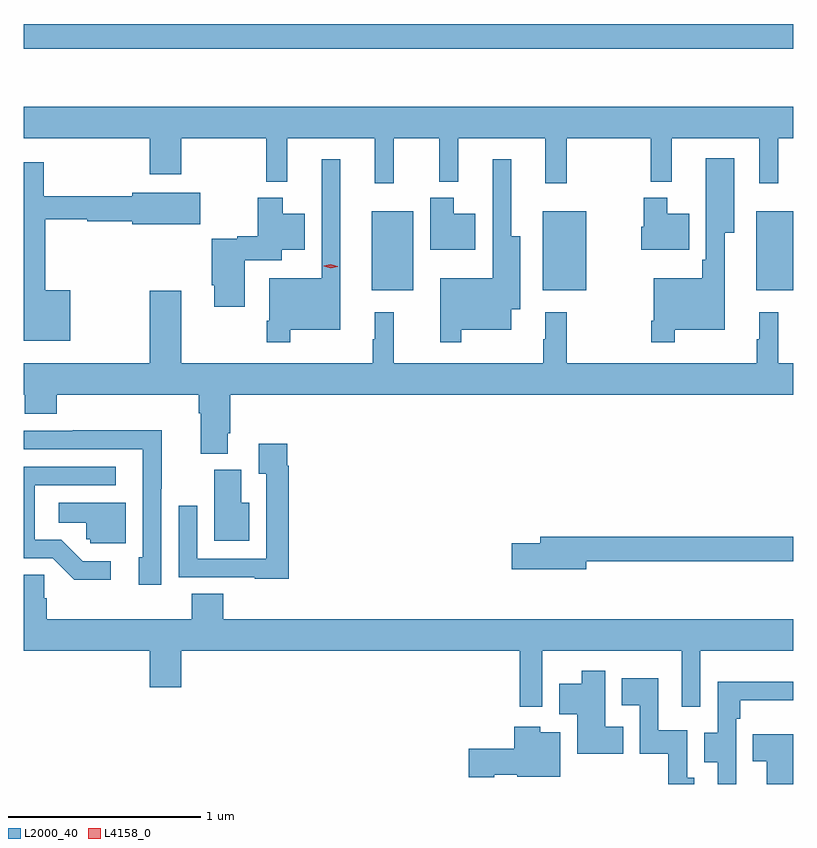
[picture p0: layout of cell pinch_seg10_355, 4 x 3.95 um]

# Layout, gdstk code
import gdstk
lib = gdstk.Library(unit=1e-6, precision=1e-09)
def R(c, l, rs):  # rectangles x0, y0, x1, y1
    for r in rs: c.add(gdstk.rectangle(r[:2], r[2:], *l))
def P(c, l, *ps):  # polygons
    for p in ps: c.add(gdstk.Polygon(p, *l))
L2000_40 = (2000, 40)
L4158_0 = (4158, 0)

pinch_seg10_355 = lib.new_cell('pinch_seg10_355')
R(pinch_seg10_355, L2000_40, [(549.779,1274.219,549.994,1274.629), (550.667,1274.219,550.894,1274.629), (551.777,1274.219,551.97,1274.629), (547.97,1275.474,551.97,1275.602)])
P(pinch_seg10_355, L2000_40, [(547.97,1275.008),(548.624,1275.008),(548.624,1274.82),(548.788,1274.82),(548.788,1275.008),(549.231,1275.008),(549.231,1274.783),(549.341,1274.783),(549.341,1275.008),(549.794,1275.008),(549.794,1274.775),(549.894,1274.775),(549.894,1275.008),(550.129,1275.008),(550.129,1274.783),(550.229,1274.783),(550.229,1275.008),(550.682,1275.008),(550.682,1274.775),(550.792,1274.775),(550.792,1275.008),(551.229,1275.008),(551.229,1274.783),(551.338,1274.783),(551.338,1275.008),(551.792,1275.008),(551.792,1274.775),(551.892,1274.775),(551.892,1275.008),(551.97,1275.008),(551.97,1275.172),(547.97,1275.172)],
  [(551.353,1274.012),(551.614,1274.012),(551.614,1274.516),(551.662,1274.516),(551.662,1274.905),(551.516,1274.905),(551.516,1274.377),(551.497,1274.377),(551.497,1274.281),(551.244,1274.281),(551.244,1274.059),(551.232,1274.059),(551.232,1273.947),(551.353,1273.947)],
  [(549.355,1274.012),(549.616,1274.012),(549.616,1274.899),(549.519,1274.899),(549.519,1274.281),(549.246,1274.281),(549.246,1274.059),(549.234,1274.059),(549.234,1273.947),(549.355,1273.947)],
  [(550.243,1274.012),(550.504,1274.012),(550.504,1274.12),(550.552,1274.12),(550.552,1274.5),(550.504,1274.5),(550.504,1274.899),(550.407,1274.899),(550.407,1274.281),(550.134,1274.281),(550.134,1273.947),(550.243,1273.947)],
  [(548.212,1274.218),(548.083,1274.218),(548.083,1274.586),(548.3,1274.586),(548.3,1274.578),(548.534,1274.578),(548.534,1274.56),(548.887,1274.56),(548.887,1274.725),(548.534,1274.725),(548.534,1274.707),(548.075,1274.707),(548.075,1274.884),(547.97,1274.884),(547.97,1273.955),(548.212,1273.955)],
  [(550.318,1274.617),(550.204,1274.617),(550.204,1274.698),(550.082,1274.698),(550.082,1274.429),(550.318,1274.429)],
  [(551.428,1274.617),(551.314,1274.617),(551.314,1274.698),(551.192,1274.698),(551.192,1274.547),(551.18,1274.547),(551.18,1274.429),(551.428,1274.429)],
  [(549.118,1274.375),(549.31,1274.375),(549.31,1274.429),(549.43,1274.429),(549.43,1274.617),(549.316,1274.617),(549.316,1274.698),(549.187,1274.698),(549.187,1274.498),(549.081,1274.498),(549.081,1274.485),(548.948,1274.485),(548.948,1274.245),(548.96,1274.245),(548.96,1274.133),(549.118,1274.133)],
  [(549.031,1273.474),(549.044,1273.474),(549.044,1273.676),(551.97,1273.676),(551.97,1273.84),(551.892,1273.84),(551.892,1274.104),(551.792,1274.104),(551.792,1273.964),(551.781,1273.964),(551.781,1273.84),(550.792,1273.84),(550.792,1274.104),(550.682,1274.104),(550.682,1273.964),(550.671,1273.964),(550.671,1273.84),(549.894,1273.84),(549.894,1274.104),(549.794,1274.104),(549.794,1273.964),(549.783,1273.964),(549.783,1273.84),(548.788,1273.84),(548.788,1274.215),(548.624,1274.215),(548.624,1273.84),(547.97,1273.84),(547.97,1273.676),(547.976,1273.676),(547.976,1273.577),(548.141,1273.577),(548.141,1273.676),(548.879,1273.676),(548.879,1273.58),(548.891,1273.58),(548.891,1273.369),(549.031,1273.369)],
  [(548.685,1273.186),(548.687,1273.186),(548.687,1273.49),(548.224,1273.49),(548.224,1273.488),(547.97,1273.488),(547.97,1273.392),(548.589,1273.392),(548.589,1272.831),(548.567,1272.831),(548.567,1272.687),(548.685,1272.687)],
  [(549.347,1273.307),(549.34,1273.307),(549.34,1273.42),(549.191,1273.42),(549.191,1273.264),(549.231,1273.264),(549.231,1272.822),(548.871,1272.822),(548.871,1273.099),(548.775,1273.099),(548.775,1272.726),(549.171,1272.726),(549.171,1272.719),(549.347,1272.719)],
  [(548.422,1272.81),(548.277,1272.81),(548.166,1272.921),(548.028,1272.921),(548.028,1273.206),(548.449,1273.206),(548.449,1273.302),(547.97,1273.302),(547.97,1272.825),(548.121,1272.825),(548.234,1272.713),(548.422,1272.713)],
  [(549.142,1273.114),(549.1,1273.114),(549.1,1273.284),(548.96,1273.284),(548.96,1272.917),(549.142,1272.917)],
  [(548.5,1273.114),(548.151,1273.114),(548.151,1273.01),(548.295,1273.01),(548.295,1272.924),(548.316,1272.924),(548.316,1272.903),(548.5,1272.903)],
  [(550.894,1272.81),(551.97,1272.81),(551.97,1272.938),(550.655,1272.938),(550.655,1272.902),(550.506,1272.902),(550.506,1272.767),(550.894,1272.767)],
  [(550.665,1272.344),(551.391,1272.344),(551.391,1272.054),(551.487,1272.054),(551.487,1272.344),(551.97,1272.344),(551.97,1272.508),(549.008,1272.508),(549.008,1272.641),(548.843,1272.641),(548.843,1272.508),(548.09,1272.508),(548.09,1272.617),(548.076,1272.617),(548.076,1272.74),(547.97,1272.74),(547.97,1272.344),(548.624,1272.344),(548.624,1272.156),(548.788,1272.156),(548.788,1272.344),(550.549,1272.344),(550.549,1272.054),(550.665,1272.054)],
  [(551.087,1271.95),(550.993,1271.95),(550.993,1272.241),(550.871,1272.241),(550.871,1272.172),(550.754,1272.172),(550.754,1272.014),(550.847,1272.014),(550.847,1271.81),(551.087,1271.81)],
  [(551.455,1271.685),(551.418,1271.685),(551.418,1271.932),(551.268,1271.932),(551.268,1272.202),(551.079,1272.202),(551.079,1272.062),(551.172,1272.062),(551.172,1271.81),(551.32,1271.81),(551.32,1271.652),(551.455,1271.652)],
  [(551.674,1271.675),(551.673,1271.675),(551.673,1271.99),(551.693,1271.99),(551.693,1272.086),(551.97,1272.086),(551.97,1272.184),(551.577,1272.184),(551.577,1271.919),(551.507,1271.919),(551.507,1271.764),(551.577,1271.764),(551.577,1271.652),(551.674,1271.652)],
  [(550.416,1271.699),(550.536,1271.699),(550.536,1271.69),(550.759,1271.69),(550.759,1271.92),(550.654,1271.92),(550.654,1271.95),(550.52,1271.95),(550.52,1271.834),(550.284,1271.834),(550.284,1271.687),(550.416,1271.687)],
  [(551.97,1271.911),(551.758,1271.911),(551.758,1271.771),(551.831,1271.771),(551.831,1271.652),(551.97,1271.652)])
P(pinch_seg10_355, L4158_0, [(549.565,1274.333),(549.53,1274.344),(549.53,1274.344),(549.53,1274.345),(549.566,1274.353),(549.601,1274.342),(549.601,1274.341),(549.601,1274.341)])

lib.write_gds('pinch_seg10_355.gds')
